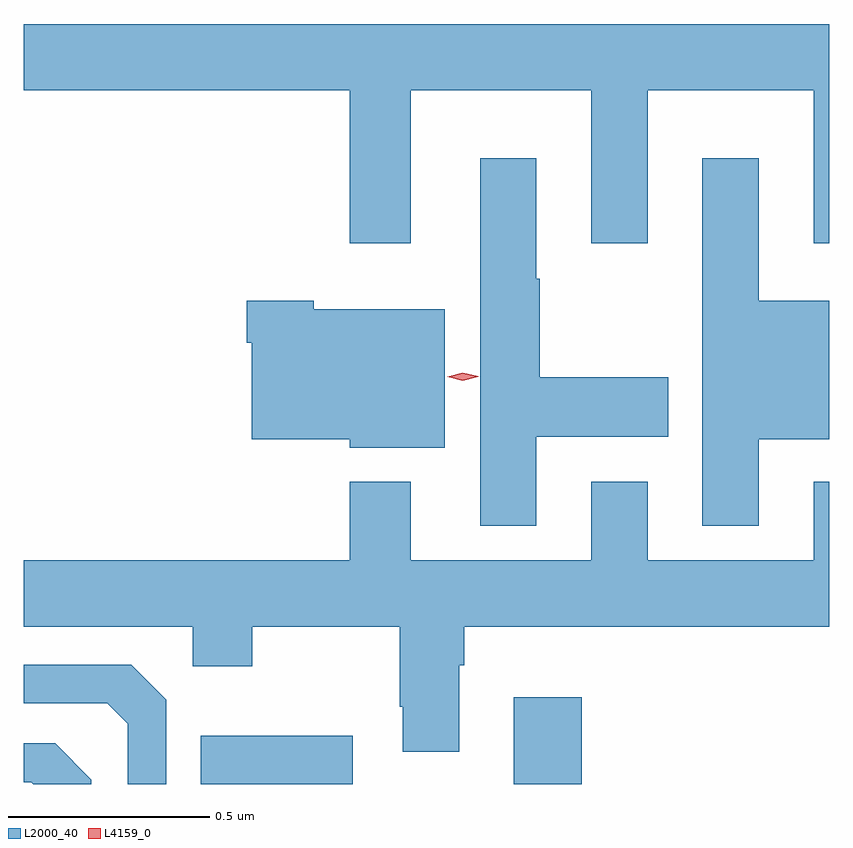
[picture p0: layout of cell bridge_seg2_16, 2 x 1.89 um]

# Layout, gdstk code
import gdstk
lib = gdstk.Library(unit=1e-6, precision=1e-09)
def R(c, l, rs):  # rectangles x0, y0, x1, y1
    for r in rs: c.add(gdstk.rectangle(r[:2], r[2:], *l))
def P(c, l, *ps):  # polygons
    for p in ps: c.add(gdstk.Polygon(p, *l))
L2000_40 = (2000, 40)
L4159_0 = (4159, 0)

bridge_seg2_16 = lib.new_cell('bridge_seg2_16')
R(bridge_seg2_16, L2000_40, [(684.031,608.617,684.409,608.737), (684.809,608.617,684.977,608.833)])
P(bridge_seg2_16, L2000_40, [(684.553,610.34),(685.001,610.34),(685.001,609.96),(685.141,609.96),(685.141,610.34),(685.553,610.34),(685.553,609.96),(685.592,609.96),(685.592,610.504),(683.592,610.504),(683.592,610.34),(684.401,610.34),(684.401,609.96),(684.553,609.96)],
  [(684.865,609.479),(685.192,609.479),(685.192,609.627),(684.873,609.627),(684.873,609.872),(684.865,609.872),(684.865,610.171),(684.725,610.171),(684.725,609.258),(684.865,609.258)],
  [(685.417,609.473),(685.592,609.473),(685.592,609.817),(685.417,609.817),(685.417,610.171),(685.277,610.171),(685.277,609.258),(685.417,609.258)],
  [(684.637,609.796),(684.312,609.796),(684.312,609.817),(684.146,609.817),(684.146,609.713),(684.158,609.713),(684.158,609.473),(684.402,609.473),(684.402,609.452),(684.637,609.452)],
  [(684.673,608.912),(684.686,608.912),(684.686,609.008),(685.592,609.008),(685.592,609.367),(685.553,609.367),(685.553,609.172),(685.141,609.172),(685.141,609.367),(685.001,609.367),(685.001,609.172),(684.553,609.172),(684.553,609.367),(684.401,609.367),(684.401,609.172),(683.592,609.172),(683.592,609.008),(684.012,609.008),(684.012,608.909),(684.159,608.909),(684.159,609.008),(684.526,609.008),(684.526,608.809),(684.533,608.809),(684.533,608.697),(684.673,608.697)],
  [(683.946,608.826),(683.859,608.913),(683.592,608.913),(683.592,608.817),(683.799,608.817),(683.85,608.766),(683.85,608.617),(683.946,608.617)],
  [(683.76,608.628),(683.67,608.718),(683.592,608.718),(683.592,608.621),(683.611,608.621),(683.615,608.617),(683.76,608.617)])
P(bridge_seg2_16, L4159_0, [(684.682,609.618),(684.644,609.628),(684.643,609.628),(684.644,609.628),(684.682,609.638),(684.72,609.629),(684.72,609.628),(684.72,609.628)])

lib.write_gds('bridge_seg2_16.gds')
